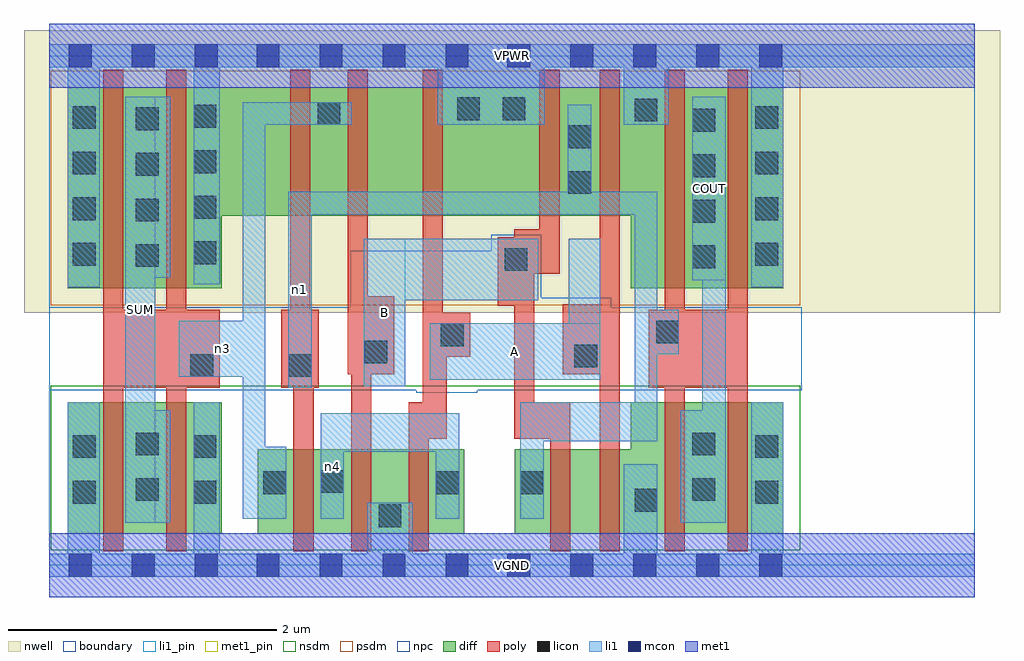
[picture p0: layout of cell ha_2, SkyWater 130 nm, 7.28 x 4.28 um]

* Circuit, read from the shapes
.subckt ha_2 A B COUT SUM VGND VPWR n1 n3 n4
XM1 SUM n3 VGND VSUBS sky130_fd_pr__nfet_01v8 w=0.98 l=0.15 m=2
XM2 n4 n1 n3 VSUBS sky130_fd_pr__nfet_01v8 w=0.63 l=0.15
XM3 VGND B n4 VSUBS sky130_fd_pr__nfet_01v8 w=0.63 l=0.15
XM4 n4 A VGND VSUBS sky130_fd_pr__nfet_01v8 w=0.63 l=0.15
XM5 n2 B n1 VSUBS sky130_fd_pr__nfet_01v8 w=0.63 l=0.15
XM6 VGND A n2 VSUBS sky130_fd_pr__nfet_01v8 w=0.63 l=0.15
XM7 COUT n1 VGND VSUBS sky130_fd_pr__nfet_01v8 w=0.98 l=0.15 m=2
XM8 SUM n3 VPWR n5 sky130_fd_pr__pfet_01v8 w=1.5 l=0.15 m=2
XM9 n3 n1 VPWR n5 sky130_fd_pr__pfet_01v8 w=0.96 l=0.15
XM10 n6 B n3 n5 sky130_fd_pr__pfet_01v8 w=0.96 l=0.15
XM11 VPWR A n6 n5 sky130_fd_pr__pfet_01v8 w=0.96 l=0.15
XM12 n1 B VPWR n5 sky130_fd_pr__pfet_01v8 w=0.96 l=0.15
XM13 VPWR A n1 n5 sky130_fd_pr__pfet_01v8 w=0.96 l=0.15
XM14 COUT n1 VPWR n5 sky130_fd_pr__pfet_01v8 w=1.5 l=0.15 m=2
.ends

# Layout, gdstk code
import gdstk
lib = gdstk.Library(unit=1e-6, precision=1e-09)
def R(c, l, rs):  # rectangles x0, y0, x1, y1
    for r in rs: c.add(gdstk.rectangle(r[:2], r[2:], *l))
def A(c, l, x, y, w, h, nx, ny, dx, dy):  # array of equal rectangles
    R(c, l, [(x+i*dx, y+j*dy, x+i*dx+w, y+j*dy+h) for i in range(nx) for j in range(ny)])
nwell = (64, 20)
diff = (65, 20)
poly = (66, 20)
licon = (66, 44)
li1_pin = (67, 16)
li1 = (67, 20)
mcon = (67, 44)
met1_pin = (68, 16)
met1 = (68, 20)
nsdm = (93, 44)
psdm = (94, 20)
npc = (95, 20)
boundary = (235, 4)

ha_2 = lib.new_cell('ha_2')
R(ha_2, nwell, [(-0.19,1.885,7.09,3.99), (0,1.885,6.9,3.99)])
R(ha_2, diff, [(0.135,0.235,1.285,1.215), (1.555,0.235,3.095,0.865), (3.47,0.235,5.475,0.865), (4.335,0.235,5.475,1.215), (0.135,2.065,1.285,3.565), (4.335,2.065,5.475,3.565), (0.135,2.605,5.475,3.565)])
R(ha_2, poly, [(0.4,0.105,0.55,3.695), (0.87,0.105,1.02,3.695), (1.82,0.105,1.97,1.905), (2.25,0.105,2.4,2.005), (2.68,0.105,2.83,1.215), (3.735,0.105,3.885,1.215), (4.105,0.105,4.255,3.695), (4.59,0.105,4.74,3.695), (5.06,0.105,5.21,3.695), (2.785,0.945,2.935,3.695), (2.785,0.945,2.965,1.885), (3.465,0.945,3.615,2.505), (3.465,0.945,3.885,1.215), (0.4,1.325,1.27,1.905), (1.73,1.325,2.01,1.905), (1.795,1.325,1.945,3.695), (4.47,1.325,5.21,1.905), (2.225,1.425,2.375,3.695), (2.225,1.425,2.57,2.005), (3.83,1.425,4.255,1.945), (2.785,1.555,3.14,1.885), (3.345,1.935,3.615,2.445), (3.465,2.175,3.805,2.505), (3.655,2.175,3.805,3.695)])
A(ha_2, licon, 4.795, 2.215, 0.17, 0.17, 1, 4, 0, 0.34)
A(ha_2, licon, 0.645, 2.225, 0.17, 0.17, 1, 4, 0, 0.34)
A(ha_2, licon, 0.175, 2.235, 0.17, 0.17, 1, 4, 0, 0.34)
A(ha_2, licon, 5.265, 2.235, 0.17, 0.17, 1, 4, 0, 0.34)
A(ha_2, licon, 1.075, 2.245, 0.17, 0.17, 1, 4, 0, 0.34)
R(ha_2, licon, [(2.455,0.285,2.625,0.455), (4.365,0.4,4.535,0.57), (0.175,0.46,0.345,0.63), (1.075,0.46,1.245,0.63), (5.265,0.46,5.435,0.63), (0.645,0.48,0.815,0.65), (4.795,0.48,4.965,0.65), (1.595,0.53,1.765,0.7), (2.885,0.53,3.055,0.7), (3.51,0.53,3.68,0.7), (2.025,0.54,2.195,0.71), (0.175,0.8,0.345,0.97), (1.075,0.8,1.245,0.97), (5.265,0.8,5.435,0.97), (0.645,0.82,0.815,0.99), (4.795,0.82,4.965,0.99), (1.05,1.405,1.22,1.575), (1.785,1.405,1.955,1.575), (3.915,1.475,4.085,1.645), (2.35,1.505,2.52,1.675), (2.92,1.635,3.09,1.805), (4.525,1.655,4.695,1.825), (3.395,2.195,3.565,2.365), (3.87,2.77,4.04,2.94), (3.87,3.11,4.04,3.28), (2,3.285,2.17,3.455), (4.365,3.31,4.535,3.48), (3.04,3.32,3.21,3.49), (3.38,3.32,3.55,3.49)])
R(ha_2, li1_pin, [(0.565,0.315,0.79,3.495), (2.345,1.335,2.655,2.435), (2.835,1.385,4.11,1.805), (4.795,2.125,5.045,3.495)])
R(ha_2, li1, [(0,-0.085,6.9,0.085), (0.135,-0.085,0.375,1.215), (1.075,-0.085,1.27,1.215), (2.37,-0.085,2.71,0.465), (4.285,-0.085,4.535,0.755), (5.235,-0.085,5.475,1.215), (0.565,0.315,0.79,3.495), (0.565,0.315,0.9,1.155), (4.71,0.315,5.045,1.155), (4.87,0.315,5.045,3.495), (1.44,0.345,1.61,3.455), (1.44,0.345,1.765,0.885), (2.025,0.345,2.195,1.135), (2.88,0.345,3.055,1.135), (3.51,0.345,3.685,1.215), (2.025,0.845,3.055,1.135), (3.51,0.925,4.535,1.215), (4.365,0.925,4.535,2.785), (1.78,1.325,1.955,2.785), (2.345,1.335,2.655,2.435), (2.835,1.385,4.11,1.805), (3.875,1.385,4.11,2.435), (0.965,1.405,1.61,1.825), (4.365,1.575,4.695,1.905), (2.345,1.975,3.645,2.435), (0.135,2.075,0.375,3.885), (5.235,2.075,5.475,3.885), (1.075,2.095,1.27,3.885), (4.795,2.125,5.045,3.495), (0.565,2.145,0.9,3.495), (1.78,2.615,4.535,2.785), (3.865,2.615,4.04,3.435), (1.44,3.285,2.255,3.455), (2.895,3.285,3.695,3.885), (4.285,3.285,4.62,3.885), (0,3.715,6.9,3.885)])
A(ha_2, mcon, 0.145, -0.085, 0.17, 0.17, 3, 2, 0.47, 3.8)
A(ha_2, mcon, 1.545, -0.085, 0.17, 0.17, 4, 2, 0.47, 3.8)
A(ha_2, mcon, 3.415, -0.085, 0.17, 0.17, 5, 2, 0.47, 3.8)
R(ha_2, met1_pin, [(0,-0.24,6.9,0.24), (0,3.56,6.9,4.04)])
R(ha_2, met1, [(0,-0.24,6.9,0.24), (0,3.56,6.9,4.04)])
R(ha_2, nsdm, [(0.01,0.11,5.6,1.34)])
R(ha_2, psdm, [(0.01,1.94,5.6,3.69)])
R(ha_2, npc, [(2.735,1.285,3.19,2.345), (0,1.305,5.61,1.925), (3.295,1.305,3.67,2.465), (3.295,1.305,4.19,1.995), (2.245,1.925,3.67,2.345)])
R(ha_2, boundary, [(0,0,6.9,3.8)])
ha_2.add(gdstk.Label('A', (3.472,1.595), layer=67, texttype=5))
ha_2.add(gdstk.Label('B', (2.5,1.885), layer=67, texttype=5))
ha_2.add(gdstk.Label('COUT', (4.92,2.81), layer=67, texttype=5))
ha_2.add(gdstk.Label('SUM', (0.677,1.905), layer=67, texttype=5))
ha_2.add(gdstk.Label('n4', (2.11,0.74), layer=67, texttype=5))
ha_2.add(gdstk.Label('n1', (1.867,2.055), layer=67, texttype=5))
ha_2.add(gdstk.Label('n3', (1.287,1.615), layer=67, texttype=5))
ha_2.add(gdstk.Label('VPWR', (3.45,3.8), layer=68, texttype=5))
ha_2.add(gdstk.Label('VGND', (3.45,0), layer=68, texttype=5))
ha_2.add(gdstk.Label('A', (3.472,1.595), layer=67, texttype=16))
ha_2.add(gdstk.Label('B', (2.5,1.885), layer=67, texttype=16))
ha_2.add(gdstk.Label('COUT', (4.92,2.81), layer=67, texttype=16))
ha_2.add(gdstk.Label('SUM', (0.677,1.905), layer=67, texttype=16))
ha_2.add(gdstk.Label('VPWR', (3.45,3.8), layer=68, texttype=16))
ha_2.add(gdstk.Label('VGND', (3.45,0), layer=68, texttype=16))

lib.write_gds('ha_2.gds')
